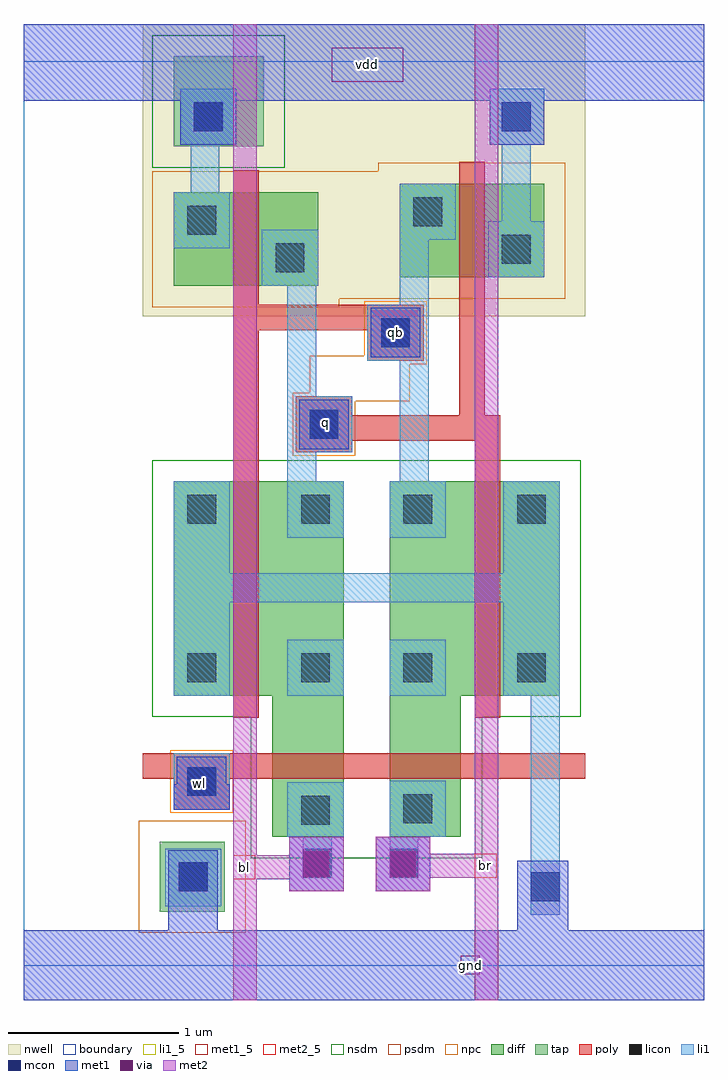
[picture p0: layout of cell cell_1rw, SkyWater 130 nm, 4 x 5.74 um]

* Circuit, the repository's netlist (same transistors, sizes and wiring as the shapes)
* NGSPICE file created from cell_1rw.ext - technology: sky130A

.subckt cell_1rw bl br wl vdd gnd
X0 bl wl Q gnd sky130_fd_pr__nfet_01v8 ad=1.428e+11p pd=1.52e+06u as=7.728e+11p ps=4.2e+06u w=420000u l=150000u
X1 br wl Q_bar gnd sky130_fd_pr__nfet_01v8 ad=1.428e+11p pd=1.52e+06u as=7.728e+11p ps=4.2e+06u w=420000u l=150000u
X2 Q Q_bar vdd vdd sky130_fd_pr__pfet_01v8 ad=1.925e+11p pd=1.8e+06u as=3.85e+11p ps=3.6e+06u w=550000u l=150000u
X3 Q_bar Q gnd gnd sky130_fd_pr__nfet_01v8 ad=0p pd=0u as=4.41e+11p ps=3.22e+06u w=1.26e+06u l=150000u
X4 vdd Q Q_bar vdd sky130_fd_pr__pfet_01v8 ad=0p pd=0u as=1.925e+11p ps=1.8e+06u w=550000u l=150000u
X5 gnd Q_bar Q gnd sky130_fd_pr__nfet_01v8 ad=0p pd=0u as=0p ps=0u w=1.26e+06u l=150000u
.ends

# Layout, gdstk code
import gdstk
lib = gdstk.Library(unit=1e-6, precision=1e-09)
def R(c, l, rs):  # rectangles x0, y0, x1, y1
    for r in rs: c.add(gdstk.rectangle(r[:2], r[2:], *l))
nwell = (64, 20)
diff = (65, 20)
tap = (65, 44)
poly = (66, 20)
licon = (66, 44)
li1_5 = (67, 5)
li1 = (67, 20)
mcon = (67, 44)
met1_5 = (68, 5)
met1 = (68, 20)
via = (68, 44)
met2_5 = (69, 5)
met2 = (69, 20)
nsdm = (93, 44)
psdm = (94, 20)
npc = (95, 20)
boundary = (235, 4)

cell_1rw = lib.new_cell('cell_1rw')
R(cell_1rw, nwell, [(0.7,3.82,3.3,5.54)])
R(cell_1rw, diff, [(1.46,0.76,1.88,1.59), (2.15,0.76,2.57,1.59), (0.88,1.59,1.88,2.85), (2.15,1.59,3.15,2.85), (0.88,4,1.73,4.55), (2.21,4.05,3.06,4.6)])
R(cell_1rw, tap, [(0.8,0.32,1.18,0.73), (0.88,4.82,1.41,5.35)])
R(cell_1rw, poly, [(0.88,0.92,1.21,1.1), (0.7,1.1,3.3,1.25), (1.23,1.46,1.38,3.74), (2.65,1.46,2.8,3.09), (1.6,3.02,1.93,3.09), (1.6,3.09,2.8,3.24), (1.6,3.24,1.93,3.35), (2.56,3.24,2.71,4.73), (2.02,3.56,2.35,3.74), (1.23,3.74,2.35,3.89), (1.23,3.89,1.38,4.68)])
R(cell_1rw, licon, [(0.91,0.44,1.08,0.61), (1.63,0.83,1.8,1), (2.23,0.84,2.4,1.01), (0.96,1,1.13,1.17), (0.96,1.67,1.13,1.84), (1.63,1.67,1.8,1.84), (2.23,1.67,2.4,1.84), (2.9,1.67,3.07,1.84), (0.96,2.6,1.13,2.77), (1.63,2.6,1.8,2.77), (2.23,2.6,2.4,2.77), (2.9,2.6,3.07,2.77), (1.68,3.1,1.85,3.27), (2.1,3.64,2.27,3.81), (1.48,4.08,1.65,4.25), (2.81,4.13,2.98,4.3), (0.96,4.3,1.13,4.47), (2.29,4.35,2.46,4.52), (1,4.91,1.17,5.08)])
R(cell_1rw, li1_5, [(1.72,3.14,1.83,3.25), (2.13,3.67,2.24,3.78)])
R(cell_1rw, li1, [(2.98,0.3,3.15,1.59), (0.83,0.35,1.16,0.69), (1.64,0.52,1.81,0.76), (2.15,0.52,2.32,0.76), (1.55,0.76,1.88,1.08), (2.15,0.76,2.48,1.09), (0.88,0.92,1.21,1.25), (0.88,1.59,1.21,2.14), (1.55,1.59,1.88,1.92), (2.15,1.59,2.48,1.92), (2.82,1.59,3.15,2.14), (0.88,2.14,3.15,2.31), (0.88,2.31,1.21,2.85), (2.82,2.31,3.15,2.85), (1.55,2.52,1.88,2.85), (2.15,2.52,2.48,2.85), (1.55,2.85,1.72,3.02), (2.21,2.85,2.38,3.56), (1.55,3.02,1.93,3.35), (1.55,3.35,1.72,4), (2.02,3.56,2.38,3.89), (2.21,3.89,2.38,4.27), (1.4,4,1.73,4.33), (2.73,4.05,3.06,4.38), (0.88,4.22,1.21,4.55), (2.21,4.27,2.54,4.6), (2.81,4.38,2.98,4.83), (0.98,4.55,1.15,4.83), (0.92,4.83,1.25,5.16), (2.74,4.83,3.06,5.16)])
R(cell_1rw, mcon, [(2.98,0.38,3.15,0.55), (0.91,0.44,1.08,0.61), (1.64,0.52,1.81,0.69), (2.15,0.52,2.32,0.69), (0.96,1,1.13,1.17), (1.68,3.1,1.85,3.27), (2.1,3.64,2.27,3.81), (1,4.91,1.17,5.08), (2.81,4.91,2.98,5.08)])
R(cell_1rw, met1_5, [(2.57,-0.05,2.68,0.06), (0.98,1.02,1.09,1.13), (1.81,5.2,2.23,5.4)])
R(cell_1rw, met1, [(0,-0.2,4,0.21), (0.85,0.21,1.14,0.68), (2.9,0.21,3.2,0.62), (1.56,0.44,1.88,0.76), (2.07,0.44,2.39,0.76), (0.88,0.92,1.21,1.07), (0.9,1.07,1.19,1.23), (1.62,3.04,1.91,3.33), (2.04,3.58,2.33,3.87), (0.92,4.83,1.25,5.09), (2.74,4.83,3.06,5.09), (0,5.09,4,5.54)])
R(cell_1rw, via, [(1.645,0.525,1.795,0.675), (2.155,0.525,2.305,0.675)])
R(cell_1rw, met2_5, [(1.23,0.51,1.36,0.65), (2.65,0.52,2.78,0.66)])
R(cell_1rw, met2, [(1.23,-0.2,1.37,0.51), (2.65,-0.2,2.79,0.52), (1.56,0.44,1.88,0.51), (2.07,0.44,2.39,0.52), (1.23,0.51,1.88,0.65), (2.07,0.52,2.79,0.66), (1.23,0.65,1.37,5.54), (1.56,0.65,1.88,0.76), (2.07,0.66,2.39,0.76), (2.65,0.66,2.79,5.54)])
R(cell_1rw, nsdm, [(1.335,0.635,2.695,1.465), (0.755,1.465,3.275,2.975), (0.755,4.695,1.535,5.475)])
R(cell_1rw, psdm, [(0.675,0.195,1.305,0.855), (0.755,3.875,1.855,3.925), (0.755,3.925,3.185,4.675), (2.085,4.675,3.185,4.725)])
R(cell_1rw, npc, [(0.86,0.9,1.23,1.27), (1.58,3,1.95,3.32), (1.58,3.32,2.27,3.37), (1.68,3.37,2.27,3.54), (1.68,3.54,2.37,3.59), (2,3.59,2.37,3.91)])
R(cell_1rw, boundary, [(0,0,4,5.32)])
cell_1rw.add(gdstk.Label('vdd', (2.02,5.3), layer=68, texttype=5))
cell_1rw.add(gdstk.Label('gnd', (2.625,0.005), layer=68, texttype=5))
cell_1rw.add(gdstk.Label('wl', (1.035,1.075), layer=68, texttype=5))
cell_1rw.add(gdstk.Label('q', (1.775,3.195), layer=67, texttype=5))
cell_1rw.add(gdstk.Label('qb', (2.185,3.725), layer=67, texttype=5))
cell_1rw.add(gdstk.Label('br', (2.715,0.59), layer=69, texttype=5))
cell_1rw.add(gdstk.Label('bl', (1.295,0.58), layer=69, texttype=5))

lib.write_gds('cell_1rw.gds')
